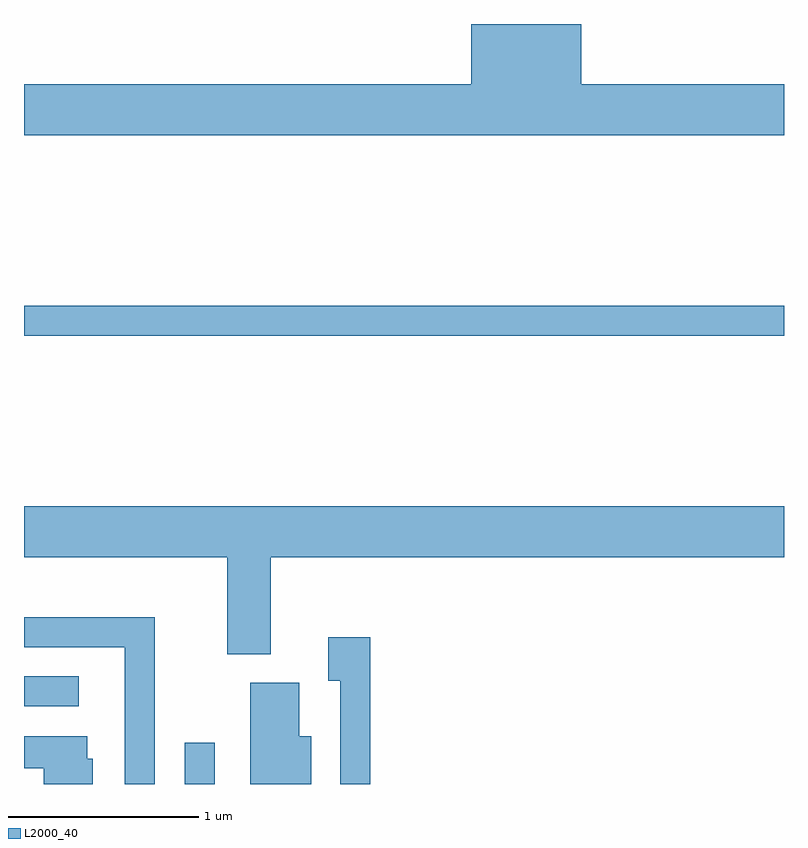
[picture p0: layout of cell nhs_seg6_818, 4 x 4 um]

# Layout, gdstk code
import gdstk
lib = gdstk.Library(unit=1e-6, precision=1e-09)
def R(c, l, rs):  # rectangles x0, y0, x1, y1
    for r in rs: c.add(gdstk.rectangle(r[:2], r[2:], *l))
def P(c, l, *ps):  # polygons
    for p in ps: c.add(gdstk.Polygon(p, *l))
L2000_40 = (2000, 40)

nhs_seg6_818 = lib.new_cell('nhs_seg6_818')
R(nhs_seg6_818, L2000_40, [(210.456,1562.162,210.614,1562.378), (209.611,1562.571,209.898,1562.729), (209.611,1564.521,213.611,1564.679)])
P(nhs_seg6_818, L2000_40, [(213.611,1565.844),(212.544,1565.844),(212.544,1566.162),(211.966,1566.162),(211.966,1565.844),(209.611,1565.844),(209.611,1565.576),(213.611,1565.576)],
  [(210.909,1563.356),(213.611,1563.356),(213.611,1563.624),(209.611,1563.624),(209.611,1563.356),(210.681,1563.356),(210.681,1562.846),(210.909,1562.846)],
  [(210.299,1563.039),(209.611,1563.039),(209.611,1562.881),(210.141,1562.881),(210.141,1562.162),(210.299,1562.162)],
  [(211.434,1562.934),(211.211,1562.934),(211.211,1562.706),(211.276,1562.706),(211.276,1562.162),(211.434,1562.162)],
  [(211.124,1562.414),(211.059,1562.414),(211.059,1562.694),(210.801,1562.694),(210.801,1562.162),(211.124,1562.162)],
  [(209.974,1562.294),(209.944,1562.294),(209.944,1562.414),(209.611,1562.414),(209.611,1562.246),(209.716,1562.246),(209.716,1562.162),(209.974,1562.162)])

lib.write_gds('nhs_seg6_818.gds')
